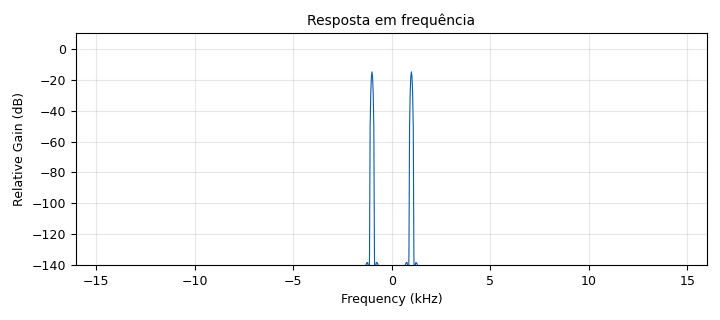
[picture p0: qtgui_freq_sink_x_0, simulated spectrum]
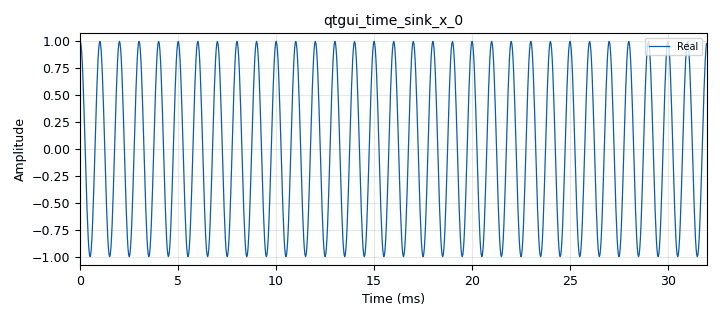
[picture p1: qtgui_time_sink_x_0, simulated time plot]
options:
  parameters:
    generate_options: qt_gui
    id: fonte_sinal_variaveis
    output_language: python
    title: Lab de Pricom
  states: {}

blocks:
- name: samp_rate
  id: variable
  parameters:
    value: '32000'
  states: {}
- name: analog_sig_source_x_0
  id: analog_sig_source_x
  parameters:
    amp: '1'
    freq: '1000'
    offset: '0'
    phase: '0'
    samp_rate: samp_rate
    type: float
    waveform: analog.GR_COS_WAVE
  states: {}
- name: blocks_throttle_0
  id: blocks_throttle
  parameters:
    samples_per_second: samp_rate
    type: float
  states: {}
- name: qtgui_freq_sink_x_0
  id: qtgui_freq_sink_x
  parameters:
    bw: samp_rate
    fc: '0'
    fftsize: '1024'
    name: Resposta em frequência
    type: float
  states: {}
- name: qtgui_time_sink_x_0
  id: qtgui_time_sink_x
  parameters:
    ctrlpanel: 'True'
    label1: Real
    size: '1024'
    srate: samp_rate
    type: float
    width1: '2'
  states: {}

connections:
- [analog_sig_source_x_0, '0', blocks_throttle_0, '0']
- [blocks_throttle_0, '0', qtgui_freq_sink_x_0, '0']
- [blocks_throttle_0, '0', qtgui_time_sink_x_0, '0']

metadata:
  file_format: 1
